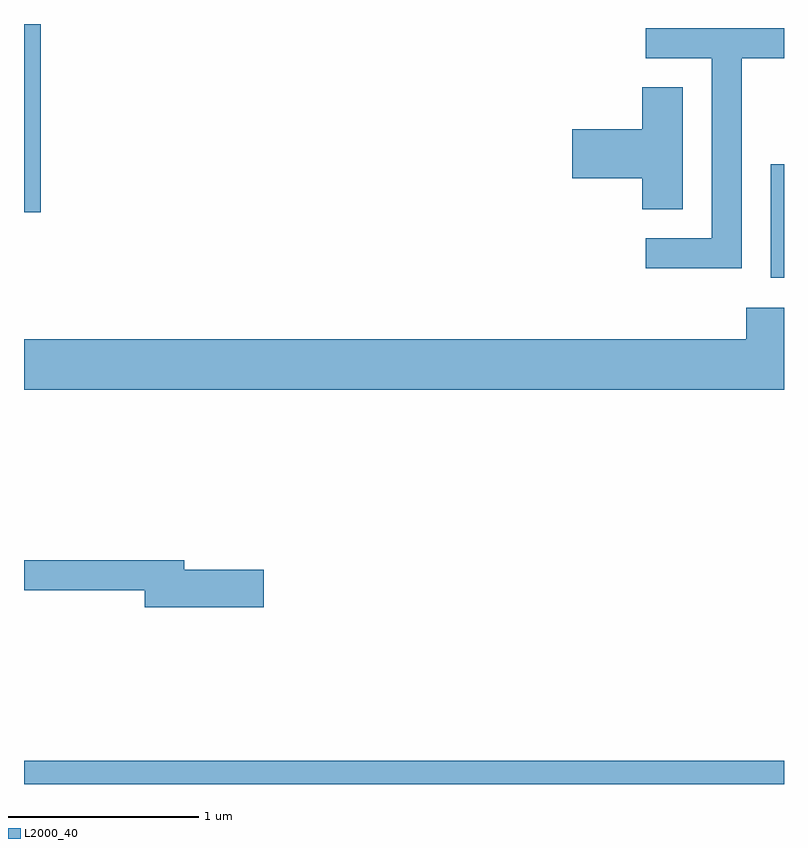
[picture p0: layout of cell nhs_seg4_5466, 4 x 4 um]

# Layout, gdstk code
import gdstk
lib = gdstk.Library(unit=1e-6, precision=1e-09)
def R(c, l, rs):  # rectangles x0, y0, x1, y1
    for r in rs: c.add(gdstk.rectangle(r[:2], r[2:], *l))
def P(c, l, *ps):  # polygons
    for p in ps: c.add(gdstk.Polygon(p, *l))
L2000_40 = (2000, 40)

nhs_seg4_5466 = lib.new_cell('nhs_seg4_5466')
R(nhs_seg4_5466, L2000_40, [(345.611,1305.982,349.611,1306.104), (349.541,1308.646,349.611,1309.244), (345.611,1308.991,345.699,1309.982)])
P(nhs_seg4_5466, L2000_40, [(349.389,1309.801),(349.611,1309.801),(349.611,1309.959),(348.883,1309.959),(348.883,1309.801),(349.231,1309.801),(349.231,1308.854),(348.883,1308.854),(348.883,1308.696),(349.389,1308.696)],
  [(349.079,1309.649),(348.866,1309.649),(348.866,1309.429),(348.496,1309.429),(348.496,1309.171),(348.866,1309.171),(348.866,1309.006),(349.079,1309.006)],
  [(349.611,1308.489),(349.411,1308.489),(349.411,1308.324),(345.611,1308.324),(345.611,1308.056),(349.611,1308.056)],
  [(346.874,1307.109),(346.454,1307.109),(346.454,1307.159),(345.611,1307.159),(345.611,1307.001),(346.246,1307.001),(346.246,1306.911),(346.874,1306.911)])

lib.write_gds('nhs_seg4_5466.gds')
